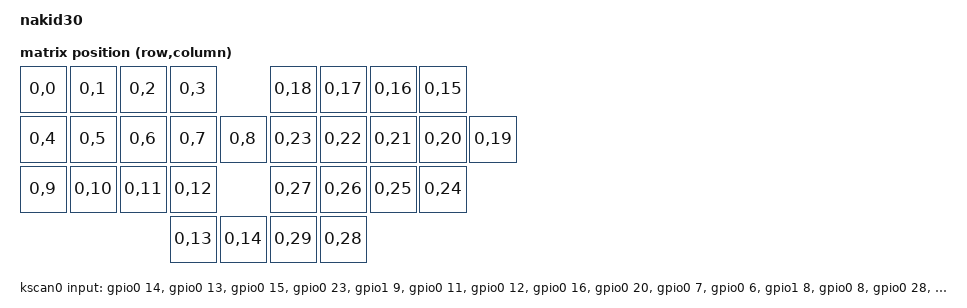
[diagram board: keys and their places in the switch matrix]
/*
 * Copyright (c) 2026 The ZMK Contributors
 *
 * SPDX-License-Identifier: MIT
 */

#include <nordic/nrf52840_qiaa.dtsi>
#include <dt-bindings/zmk/matrix_transform.h>

/ {
    model = "nakid30";
    compatible = "fj88,nakid30";

    chosen {
        zephyr,code-partition = &code_partition;
        zephyr,sram = &sram0;
        zephyr,flash = &flash0;
        zmk,battery = &vbatt;
        zmk,kscan = &kscan0;
        zmk,physical-layout = &default_layout;
    };

    default_layout: default_layout {
        compatible = "zmk,physical-layout";
        display-name = "Default";
        transform = <&default_transform>;
        kscan = <&kscan0>;
    };

    /*
     * ダイレクトスキャンなので kscan は (row 0, col 0..14) しか生成しない。
     * 左右を 1 つの position 空間に収めるため columns = 30 / rows = 1 とし、
     * 右手側は dts で col-offset = 15 を与えて後半 15 列に載せる。
     */
    default_transform: keymap_transform_0 {
        compatible = "zmk,matrix-transform";
        columns = <30>;
        rows = <1>;

        map = <
            RC(0,0)  RC(0,1)  RC(0,2)  RC(0,3)            RC(0,18) RC(0,17) RC(0,16) RC(0,15)
            RC(0,4)  RC(0,5)  RC(0,6)  RC(0,7)  RC(0,8)   RC(0,23) RC(0,22) RC(0,21) RC(0,20) RC(0,19)
            RC(0,9)  RC(0,10) RC(0,11) RC(0,12)           RC(0,27) RC(0,26) RC(0,25) RC(0,24)
                                       RC(0,13) RC(0,14)  RC(0,29) RC(0,28)
        >;
    };

    // ダイレクト 15 キー
    kscan0: kscan {
        compatible = "zmk,kscan-gpio-direct";
        wakeup-source;

        input-gpios
            = <&gpio0 14 (GPIO_ACTIVE_LOW | GPIO_PULL_UP)>   /* KEY1  SW1  */
            , <&gpio0 13 (GPIO_ACTIVE_LOW | GPIO_PULL_UP)>   /* KEY2  SW2  */
            , <&gpio0 15 (GPIO_ACTIVE_LOW | GPIO_PULL_UP)>   /* KEY3  SW3  */
            , <&gpio0 23 (GPIO_ACTIVE_LOW | GPIO_PULL_UP)>   /* KEY4  SW4  */
            , <&gpio1  9 (GPIO_ACTIVE_LOW | GPIO_PULL_UP)>   /* KEY5  SW5  */
            , <&gpio0 11 (GPIO_ACTIVE_LOW | GPIO_PULL_UP)>   /* KEY6  SW6  */
            , <&gpio0 12 (GPIO_ACTIVE_LOW | GPIO_PULL_UP)>   /* KEY7  SW7  */
            , <&gpio0 16 (GPIO_ACTIVE_LOW | GPIO_PULL_UP)>   /* KEY8  SW8  */
            , <&gpio0 20 (GPIO_ACTIVE_LOW | GPIO_PULL_UP)>   /* KEY9  SW9  */
            , <&gpio0  7 (GPIO_ACTIVE_LOW | GPIO_PULL_UP)>   /* KEY10 SW10 */
            , <&gpio0  6 (GPIO_ACTIVE_LOW | GPIO_PULL_UP)>   /* KEY11 SW11 */
            , <&gpio1  8 (GPIO_ACTIVE_LOW | GPIO_PULL_UP)>   /* KEY12 SW12 */
            , <&gpio0  8 (GPIO_ACTIVE_LOW | GPIO_PULL_UP)>   /* KEY13 SW13 */
            , <&gpio0 28 (GPIO_ACTIVE_LOW | GPIO_PULL_UP)>   /* KEY14 SW14 */
            , <&gpio1 15 (GPIO_ACTIVE_LOW | GPIO_PULL_UP)>   /* KEY15 SW15 */
            ;
    };

    // 電池残量: +BAT --R4(1.5M)-- AIN7(P0.31) --R5(510k)-- P0.30
    vbatt: vbatt {
        compatible = "zmk,battery-voltage-divider";
        io-channels = <&adc 7>;
        power-gpios = <&gpio0 30 (GPIO_OPEN_DRAIN | GPIO_ACTIVE_LOW)>;
        output-ohms = <510000>;
        full-ohms = <(1500000 + 510000)>;
    };
};

&adc {
    status = "okay";
};

&gpiote {
    status = "okay";
};

&gpio0 {
    status = "okay";
};

&gpio1 {
    status = "okay";
};

zephyr_udc0: &usbd {
    status = "okay";
};

// P0.18 をハードウェアリセットピンにする
&uicr {
    gpio-as-nreset;
};

// Adafruit nRF52 Bootloader レイアウトに合わせる。アプリは SoftDevice 領域の後ろから
&flash0 {
    partitions {
        compatible = "fixed-partitions";
        #address-cells = <1>;
        #size-cells = <1>;

        sd_partition: partition@0 {
            reg = <0x00000000 0x00026000>;
        };
        code_partition: partition@26000 {
            reg = <0x00026000 0x000c6000>;
        };

        /*
         * The flash starting at 0x000ec000 and ending at
         * 0x000f3fff is reserved for use by the application.
         */

        storage_partition: partition@ec000 {
            reg = <0x000ec000 0x00008000>;
        };

        boot_partition: partition@f4000 {
            reg = <0x000f4000 0x0000c000>;
        };
    };
};
